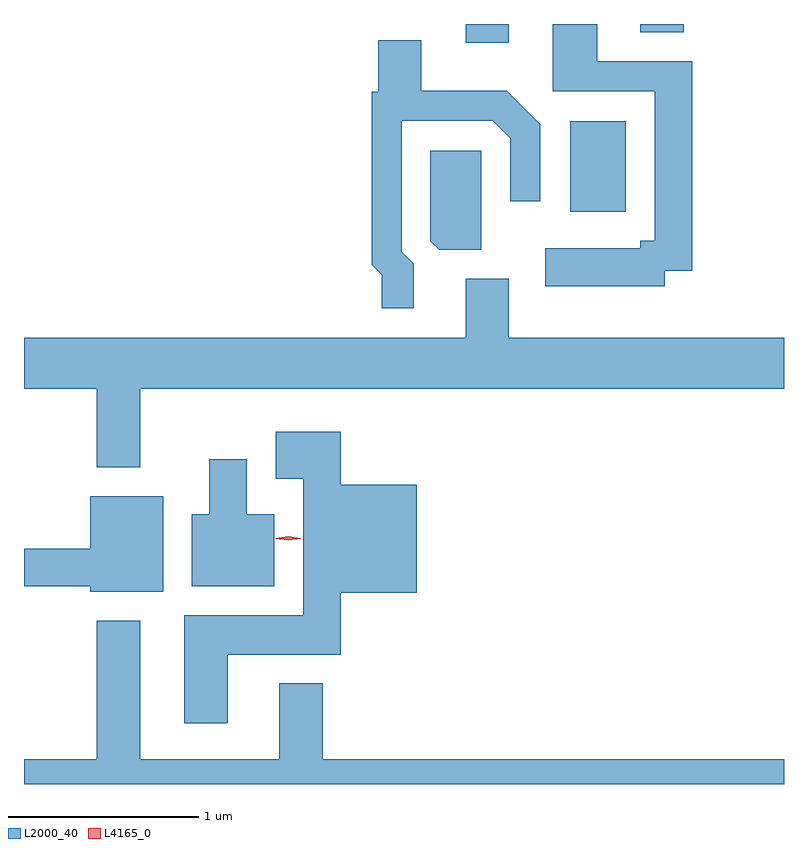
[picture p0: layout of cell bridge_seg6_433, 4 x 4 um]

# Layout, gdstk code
import gdstk
lib = gdstk.Library(unit=1e-6, precision=1e-09)
def R(c, l, rs):  # rectangles x0, y0, x1, y1
    for r in rs: c.add(gdstk.rectangle(r[:2], r[2:], *l))
def P(c, l, *ps):  # polygons
    for p in ps: c.add(gdstk.Polygon(p, *l))
L2000_40 = (2000, 40)
L4165_0 = (4165, 0)

bridge_seg6_433 = lib.new_cell('bridge_seg6_433')
R(bridge_seg6_433, L2000_40, [(678.461,1655.306,678.754,1655.784), (677.911,1656.196,678.139,1656.295), (678.831,1656.251,679.059,1656.295)])
P(bridge_seg6_433, L2000_40, [(678.959,1654.996),(679.104,1654.996),(679.104,1656.099),(678.604,1656.099),(678.604,1656.295),(678.371,1656.295),(678.371,1655.941),(678.906,1655.941),(678.906,1655.154),(678.831,1655.154),(678.831,1655.114),(678.331,1655.114),(678.331,1654.916),(678.959,1654.916)],
  [(677.639,1655.032),(677.574,1655.097),(677.574,1655.786),(678.054,1655.786),(678.146,1655.694),(678.146,1655.363),(678.304,1655.363),(678.304,1655.767),(678.127,1655.944),(677.679,1655.944),(677.679,1656.209),(677.451,1656.209),(677.451,1655.939),(677.416,1655.939),(677.416,1655.029),(677.471,1654.974),(677.471,1654.798),(677.639,1654.798)],
  [(677.994,1655.629),(677.726,1655.629),(677.726,1655.152),(677.772,1655.106),(677.994,1655.106)],
  [(676.199,1654.376),(679.587,1654.376),(679.587,1654.644),(678.139,1654.644),(678.139,1654.954),(677.911,1654.954),(677.911,1654.644),(675.587,1654.644),(675.587,1654.376),(675.971,1654.376),(675.971,1653.961),(676.199,1653.961)],
  [(676.659,1652.976),(677.254,1652.976),(677.254,1653.301),(677.654,1653.301),(677.654,1653.869),(677.254,1653.869),(677.254,1654.149),(676.911,1654.149),(676.911,1653.901),(677.056,1653.901),(677.056,1653.184),(676.431,1653.184),(676.431,1652.616),(676.659,1652.616)],
  [(676.904,1653.714),(676.759,1653.714),(676.759,1654.004),(676.561,1654.004),(676.561,1653.714),(676.471,1653.714),(676.471,1653.336),(676.904,1653.336)],
  [(676.319,1653.809),(675.936,1653.809),(675.936,1653.534),(675.587,1653.534),(675.587,1653.336),(675.936,1653.336),(675.936,1653.306),(676.319,1653.306)],
  [(679.587,1652.424),(677.159,1652.424),(677.159,1652.824),(676.931,1652.824),(676.931,1652.424),(676.199,1652.424),(676.199,1653.154),(675.971,1653.154),(675.971,1652.424),(675.587,1652.424),(675.587,1652.295),(679.587,1652.295)])
P(bridge_seg6_433, L4165_0, [(676.978,1653.578),(676.912,1653.587),(676.912,1653.588),(676.912,1653.588),(676.978,1653.598),(677.044,1653.588),(677.044,1653.588),(677.044,1653.587)])

lib.write_gds('bridge_seg6_433.gds')
